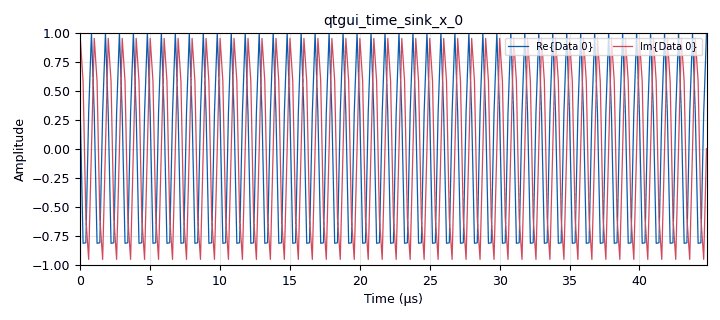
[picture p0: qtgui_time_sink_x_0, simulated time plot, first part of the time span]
options:
  parameters:
    generate_options: qt_gui
    id: TX_1
    output_language: python
    title: tx-1
  states: {}

blocks:
- name: samp_rate
  id: variable
  parameters:
    value: 5e6
  states: {}
- name: analog_sig_source_x_0
  id: analog_sig_source_x
  parameters:
    amp: '1'
    freq: 1e6
    offset: '0'
    phase: '0'
    samp_rate: samp_rate
    type: complex
    waveform: analog.GR_SIN_WAVE
  states: {}
- name: qtgui_time_sink_x_0
  id: qtgui_time_sink_x
  parameters:
    grid: 'True'
    size: '1024'
    srate: samp_rate
    type: complex
    update_time: '0.5'
  states: {}
- name: uhd_usrp_sink_0
  id: uhd_usrp_sink
  parameters:
    ant0: TX/RX
    bw0: ''
    center_freq0: 5.8e9
    dev_addr: addr=192.168.10.2
    dev_args: '""'
    gain0: '30'
    len_tag_name: ''
    norm_gain0: 'False'
    samp_rate: samp_rate
    sync: none
    type: fc32
  states: {}

connections:
- [analog_sig_source_x_0, '0', qtgui_time_sink_x_0, '0']
- [analog_sig_source_x_0, '0', uhd_usrp_sink_0, '0']

metadata:
  file_format: 1
